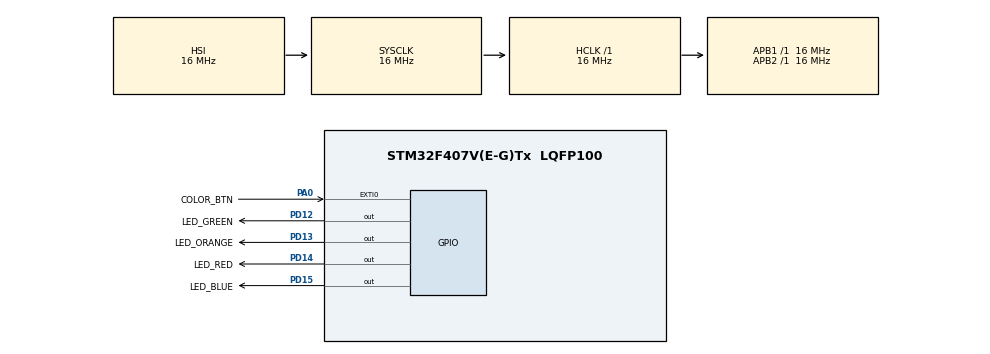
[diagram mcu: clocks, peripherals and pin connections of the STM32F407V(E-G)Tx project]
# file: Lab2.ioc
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Mcu.Family=STM32F4
Mcu.Name=STM32F407V(E-G)Tx
Mcu.Package=LQFP100
NVIC.EXTI0_IRQn=true\:0\:0\:false\:false\:true\:true\:true\:true
NVIC.PriorityGroup=NVIC_PRIORITYGROUP_4
PA0-WKUP.GPIO_Label=COLOR_BTN
PA0-WKUP.GPIO_ModeDefaultEXTI=GPIO_MODE_IT_RISING
PA0-WKUP.Signal=GPXTI0
PD12.GPIO_Label=LED_GREEN
PD12.Signal=GPIO_Output
PD13.GPIO_Label=LED_ORANGE
PD13.Signal=GPIO_Output
PD14.GPIO_Label=LED_RED
PD14.Signal=GPIO_Output
PD15.GPIO_Label=LED_BLUE
PD15.Signal=GPIO_Output
ProjectManager.HeapSize=0x200
ProjectManager.StackSize=0x400
ProjectManager.TargetToolchain=STM32CubeIDE
RCC.AHBFreq_Value=16000000
RCC.APB1Freq_Value=16000000
RCC.APB2Freq_Value=16000000
RCC.CortexFreq_Value=16000000
RCC.HSE_VALUE=25000000
RCC.HSI_VALUE=16000000
RCC.LSE_VALUE=32768
RCC.SYSCLKFreq_VALUE=16000000
RCC.VCOOutputFreq_Value=192000000
board=custom

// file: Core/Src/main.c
/* USER CODE BEGIN Header */
/**
  ******************************************************************************
  * @file           : main.c
  * @brief          : Main program body
  ******************************************************************************
  * @attention
  *
  * Copyright (c) 2024 STMicroelectronics.
  * All rights reserved.
  *
  * This software is licensed under terms that can be found in the LICENSE file
  * in the root directory of this software component.
  * If no LICENSE file comes with this software, it is provided AS-IS.
  *
  ******************************************************************************
  */
/* USER CODE END Header */
#include "main.h"

/* USER CODE BEGIN PV */
unsigned int LedN = 0;
/* USER CODE END PV */

void SystemClock_Config(void);
static void MX_GPIO_Init(void);

int main(void)
{

  /* MCU Configuration--------------------------------------------------------*/

  /* Reset of all peripherals, Initializes the Flash interface and the Systick. */
  HAL_Init();

  /* Configure the system clock */
  SystemClock_Config();

  /* Initialize all configured peripherals */
  MX_GPIO_Init();

  /* Infinite loop */
  /* USER CODE BEGIN WHILE */
  while (1)
  {
		GPIO_PinState btnState;
			  btnState = HAL_GPIO_ReadPin(COLOR_BTN_GPIO_Port, COLOR_BTN_Pin);
			  if (btnState == GPIO_PIN_RESET){
				  LedN++;
			  }
			  if (LedN > 3)

			  	{
			  		LedN = 0;
			  	}
   switch(LedN){
   case 0:
	  HAL_GPIO_WritePin(GPIOD, GPIO_PIN_15, GPIO_PIN_SET);
	  HAL_Delay(500);
	  HAL_GPIO_WritePin(GPIOD, GPIO_PIN_15, GPIO_PIN_RESET);
	  HAL_Delay(500);
	  break;
  case 1:
	  HAL_GPIO_WritePin(GPIOD, GPIO_PIN_14, GPIO_PIN_SET);
	  HAL_Delay(500);
	  HAL_GPIO_WritePin(GPIOD, GPIO_PIN_14, GPIO_PIN_RESET);
	  HAL_Delay(500);
	  break;
  case 2:
	  HAL_GPIO_WritePin(GPIOD, GPIO_PIN_13, GPIO_PIN_SET);
	  HAL_Delay(500);
	  HAL_GPIO_WritePin(GPIOD, GPIO_PIN_13, GPIO_PIN_RESET);
	  HAL_Delay(500);
	  break;
  case 3:
	  HAL_GPIO_WritePin(GPIOD, GPIO_PIN_12, GPIO_PIN_SET);
	  HAL_Delay(500);
	  HAL_GPIO_WritePin(GPIOD, GPIO_PIN_12, GPIO_PIN_RESET);
	  HAL_Delay(500);
	  break;
   }
    /* USER CODE END WHILE */

  }
}

void SystemClock_Config(void)
{
  RCC_OscInitTypeDef RCC_OscInitStruct = {0};
  RCC_ClkInitTypeDef RCC_ClkInitStruct = {0};

  /** Configure the main internal regulator output voltage
  */
  __HAL_RCC_PWR_CLK_ENABLE();
  __HAL_PWR_VOLTAGESCALING_CONFIG(PWR_REGULATOR_VOLTAGE_SCALE1);

  /** Initializes the RCC Oscillators according to the specified parameters
  * in the RCC_OscInitTypeDef structure.
  */
  RCC_OscInitStruct.OscillatorType = RCC_OSCILLATORTYPE_HSI;
  RCC_OscInitStruct.HSIState = RCC_HSI_ON;
  RCC_OscInitStruct.HSICalibrationValue = RCC_HSICALIBRATION_DEFAULT;
  RCC_OscInitStruct.PLL.PLLState = RCC_PLL_NONE;
  if (HAL_RCC_OscConfig(&RCC_OscInitStruct) != HAL_OK)
  {
    Error_Handler();
  }

  /** Initializes the CPU, AHB and APB buses clocks
  */
  RCC_ClkInitStruct.ClockType = RCC_CLOCKTYPE_HCLK|RCC_CLOCKTYPE_SYSCLK
                              |RCC_CLOCKTYPE_PCLK1|RCC_CLOCKTYPE_PCLK2;
  RCC_ClkInitStruct.SYSCLKSource = RCC_SYSCLKSOURCE_HSI;
  RCC_ClkInitStruct.AHBCLKDivider = RCC_SYSCLK_DIV1;
  RCC_ClkInitStruct.APB1CLKDivider = RCC_HCLK_DIV1;
  RCC_ClkInitStruct.APB2CLKDivider = RCC_HCLK_DIV1;

  if (HAL_RCC_ClockConfig(&RCC_ClkInitStruct, FLASH_LATENCY_0) != HAL_OK)
  {
    Error_Handler();
  }
}

static void MX_GPIO_Init(void)
{
  GPIO_InitTypeDef GPIO_InitStruct = {0};

  /* GPIO Ports Clock Enable */
  __HAL_RCC_GPIOA_CLK_ENABLE();
  __HAL_RCC_GPIOD_CLK_ENABLE();

  /*Configure GPIO pin Output Level */
  HAL_GPIO_WritePin(GPIOD, LED_GREEN_Pin|LED_ORANGE_Pin|LED_RED_Pin|LED_BLUE_Pin, GPIO_PIN_RESET);

  /*Configure GPIO pin : COLOR_BTN_Pin */
  GPIO_InitStruct.Pin = COLOR_BTN_Pin;
  GPIO_InitStruct.Mode = GPIO_MODE_IT_RISING;
  GPIO_InitStruct.Pull = GPIO_NOPULL;
  HAL_GPIO_Init(COLOR_BTN_GPIO_Port, &GPIO_InitStruct);

  /*Configure GPIO pins : LED_GREEN_Pin LED_ORANGE_Pin LED_RED_Pin LED_BLUE_Pin */
  GPIO_InitStruct.Pin = LED_GREEN_Pin|LED_ORANGE_Pin|LED_RED_Pin|LED_BLUE_Pin;
  GPIO_InitStruct.Mode = GPIO_MODE_OUTPUT_PP;
  GPIO_InitStruct.Pull = GPIO_NOPULL;
  GPIO_InitStruct.Speed = GPIO_SPEED_FREQ_LOW;
  HAL_GPIO_Init(GPIOD, &GPIO_InitStruct);

  /* EXTI interrupt init*/
  HAL_NVIC_SetPriority(EXTI0_IRQn, 0, 0);
  HAL_NVIC_EnableIRQ(EXTI0_IRQn);

}

void Error_Handler(void)
{
  __disable_irq();
  while (1)
  {
  }
}
